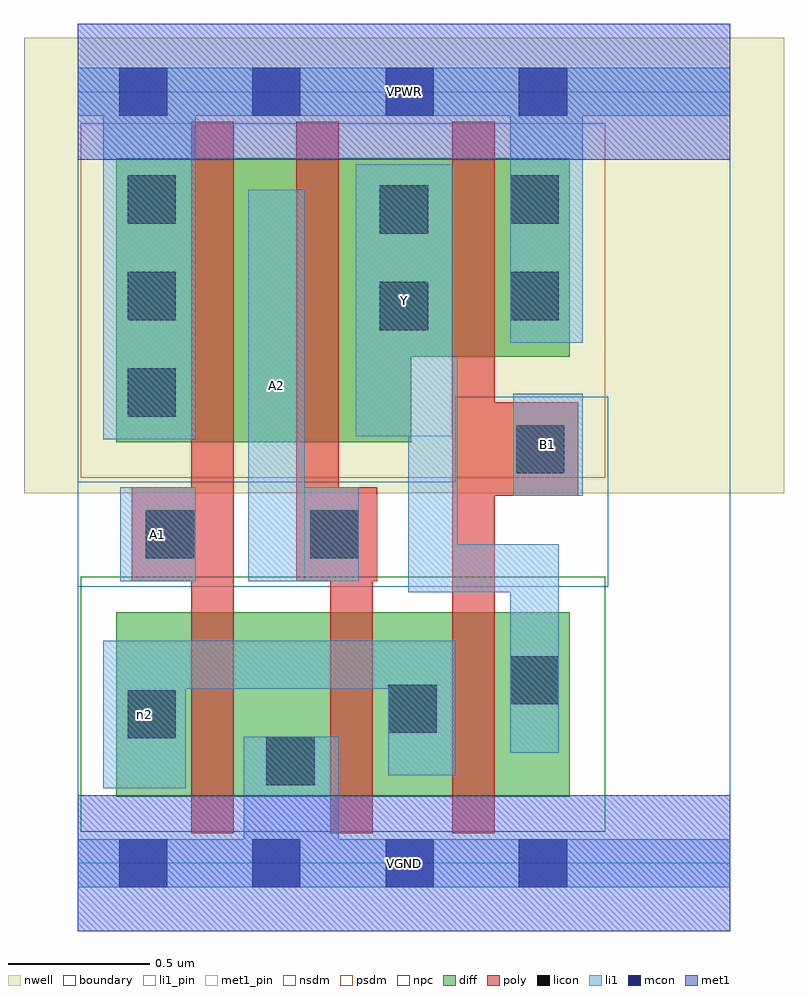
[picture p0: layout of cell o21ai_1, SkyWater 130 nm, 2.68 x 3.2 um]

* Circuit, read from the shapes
.subckt o21ai_1 A1 A2 B1 VGND VPWR Y n2
XM1 VGND A1 n2 VSUBS sky130_fd_pr__nfet_01v8 w=0.65 l=0.15
XM2 n2 A2 VGND VSUBS sky130_fd_pr__nfet_01v8 w=0.65 l=0.15
XM3 Y B1 n2 VSUBS sky130_fd_pr__nfet_01v8 w=0.65 l=0.15
XM4 n1 A1 VPWR n3 sky130_fd_pr__pfet_01v8 w=1 l=0.15
XM5 Y A2 n1 n3 sky130_fd_pr__pfet_01v8 w=1 l=0.15
XM6 VPWR B1 Y n3 sky130_fd_pr__pfet_01v8 w=0.7 l=0.15
.ends

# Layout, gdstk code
import gdstk
lib = gdstk.Library(unit=1e-6, precision=1e-09)
def R(c, l, rs):  # rectangles x0, y0, x1, y1
    for r in rs: c.add(gdstk.rectangle(r[:2], r[2:], *l))
def A(c, l, x, y, w, h, nx, ny, dx, dy):  # array of equal rectangles
    R(c, l, [(x+i*dx, y+j*dy, x+i*dx+w, y+j*dy+h) for i in range(nx) for j in range(ny)])
nwell = (64, 20)
diff = (65, 20)
poly = (66, 20)
licon = (66, 44)
li1_pin = (67, 16)
li1 = (67, 20)
mcon = (67, 44)
met1_pin = (68, 16)
met1 = (68, 20)
nsdm = (93, 44)
psdm = (94, 20)
npc = (95, 20)
boundary = (235, 4)

o21ai_1 = lib.new_cell('o21ai_1')
R(o21ai_1, nwell, [(-0.19,1.305,2.49,2.91), (0,1.305,2.3,2.91)])
R(o21ai_1, diff, [(0.135,0.235,1.735,0.885), (0.135,1.485,1.175,2.485), (0.135,1.785,1.735,2.485)])
R(o21ai_1, poly, [(0.4,0.105,0.55,2.615), (0.89,0.105,1.04,1.325), (1.32,0.105,1.47,2.615), (0.19,0.995,0.55,1.325), (0.77,0.995,0.92,2.615), (0.77,0.995,1.055,1.325), (1.32,1.295,1.765,1.625)])
A(o21ai_1, licon, 0.175, 1.575, 0.17, 0.17, 1, 3, 0, 0.34)
R(o21ai_1, licon, [(0.665,0.275,0.835,0.445), (0.175,0.44,0.345,0.61), (1.095,0.46,1.265,0.63), (1.525,0.56,1.695,0.73), (0.24,1.075,0.41,1.245), (0.82,1.075,0.99,1.245), (1.545,1.375,1.715,1.545), (1.065,1.88,1.235,2.05), (1.525,1.915,1.695,2.085), (1.065,2.22,1.235,2.39), (1.525,2.255,1.695,2.425)])
R(o21ai_1, li1_pin, [(0.15,0.995,0.415,1.325), (0.6,0.995,0.8,2.375), (1.535,1.295,1.78,1.655), (0.98,1.505,1.32,2.465)])
R(o21ai_1, li1, [(0,-0.085,2.3,0.085), (0.585,-0.085,0.92,0.445), (0.09,0.265,0.38,0.785), (1.095,0.31,1.33,0.785), (1.525,0.39,1.695,1.125), (0.09,0.615,1.33,0.785), (1.165,0.955,1.34,1.785), (1.165,0.955,1.695,1.125), (0.15,0.995,0.415,1.325), (0.6,0.995,0.8,2.375), (0.6,0.995,0.99,1.325), (1.535,1.295,1.78,1.655), (0.09,1.495,0.415,2.805), (0.98,1.505,1.32,2.465), (1.525,1.835,1.78,2.805), (0,2.635,2.3,2.805)])
A(o21ai_1, mcon, 0.145, -0.085, 0.17, 0.17, 4, 2, 0.47, 2.72)
R(o21ai_1, met1_pin, [(0,-0.24,2.3,0.24), (0,2.48,2.3,2.96)])
R(o21ai_1, met1, [(0,-0.24,2.3,0.24), (0,2.48,2.3,2.96)])
R(o21ai_1, nsdm, [(0.01,0.11,1.86,1.01)])
R(o21ai_1, psdm, [(0.01,1.36,1.86,2.61)])
R(o21ai_1, npc, [(0,0.975,1.87,1.345), (1.33,0.975,1.87,1.645)])
R(o21ai_1, boundary, [(0,0,2.3,2.72)])
o21ai_1.add(gdstk.Label('A1', (0.282,1.16), layer=67, texttype=5))
o21ai_1.add(gdstk.Label('A2', (0.7,1.685), layer=67, texttype=5))
o21ai_1.add(gdstk.Label('B1', (1.657,1.475), layer=67, texttype=5))
o21ai_1.add(gdstk.Label('Y', (1.15,1.985), layer=67, texttype=5))
o21ai_1.add(gdstk.Label('n2', (0.235,0.525), layer=67, texttype=5))
o21ai_1.add(gdstk.Label('VPWR', (1.15,2.72), layer=68, texttype=5))
o21ai_1.add(gdstk.Label('VGND', (1.15,0), layer=68, texttype=5))
o21ai_1.add(gdstk.Label('A1', (0.282,1.16), layer=67, texttype=16))
o21ai_1.add(gdstk.Label('A2', (0.7,1.685), layer=67, texttype=16))
o21ai_1.add(gdstk.Label('B1', (1.657,1.475), layer=67, texttype=16))
o21ai_1.add(gdstk.Label('Y', (1.15,1.985), layer=67, texttype=16))
o21ai_1.add(gdstk.Label('VPWR', (1.15,2.72), layer=68, texttype=16))
o21ai_1.add(gdstk.Label('VGND', (1.15,0), layer=68, texttype=16))

lib.write_gds('o21ai_1.gds')
